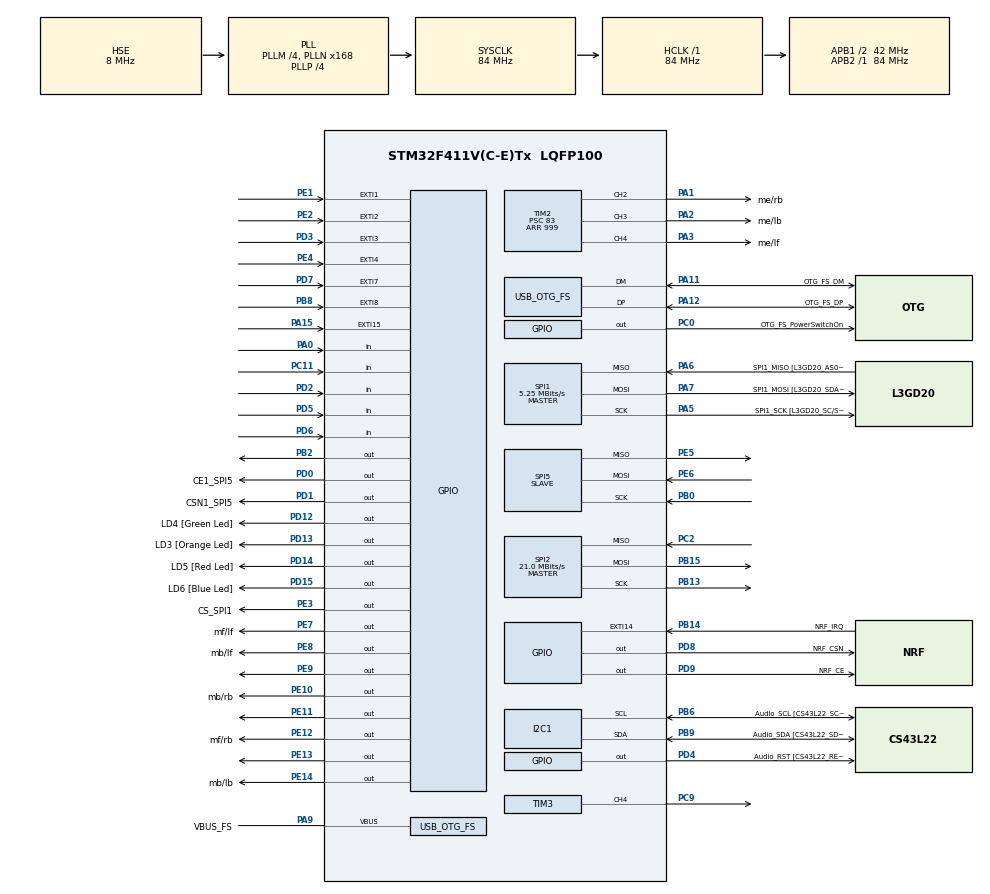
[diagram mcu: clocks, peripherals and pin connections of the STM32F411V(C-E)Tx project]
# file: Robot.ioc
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Dma.Request0=SPI5_RX
Dma.Request1=SPI5_TX
Dma.SPI5_RX.0.Direction=DMA_PERIPH_TO_MEMORY
Dma.SPI5_RX.0.FIFOMode=DMA_FIFOMODE_DISABLE
Dma.SPI5_RX.0.Instance=DMA2_Stream3
Dma.SPI5_RX.0.MemDataAlignment=DMA_MDATAALIGN_BYTE
Dma.SPI5_RX.0.MemInc=DMA_MINC_ENABLE
Dma.SPI5_RX.0.Mode=DMA_NORMAL
Dma.SPI5_RX.0.PeriphDataAlignment=DMA_PDATAALIGN_BYTE
Dma.SPI5_RX.0.PeriphInc=DMA_PINC_DISABLE
Dma.SPI5_RX.0.Priority=DMA_PRIORITY_LOW
Dma.SPI5_TX.1.Direction=DMA_MEMORY_TO_PERIPH
Dma.SPI5_TX.1.FIFOMode=DMA_FIFOMODE_DISABLE
Dma.SPI5_TX.1.Instance=DMA2_Stream4
Dma.SPI5_TX.1.MemDataAlignment=DMA_MDATAALIGN_BYTE
Dma.SPI5_TX.1.MemInc=DMA_MINC_ENABLE
Dma.SPI5_TX.1.Mode=DMA_NORMAL
Dma.SPI5_TX.1.PeriphDataAlignment=DMA_PDATAALIGN_BYTE
Dma.SPI5_TX.1.PeriphInc=DMA_PINC_DISABLE
Dma.SPI5_TX.1.Priority=DMA_PRIORITY_LOW
I2C1.I2C_Mode=I2C_Fast
Mcu.Family=STM32F4
Mcu.Name=STM32F411V(C-E)Tx
Mcu.Package=LQFP100
NVIC.DMA2_Stream3_IRQn=true\:0\:0\:false\:false\:true\:false\:true
NVIC.DMA2_Stream4_IRQn=true\:0\:0\:false\:false\:true\:false\:true
NVIC.EXTI15_10_IRQn=true\:0\:0\:false\:false\:true\:true\:true
NVIC.EXTI1_IRQn=true\:0\:0\:false\:false\:true\:true\:true
NVIC.EXTI2_IRQn=true\:0\:0\:false\:false\:true\:true\:true
NVIC.EXTI3_IRQn=true\:0\:0\:false\:false\:true\:true\:true
NVIC.EXTI4_IRQn=true\:0\:0\:false\:false\:true\:true\:true
NVIC.EXTI9_5_IRQn=true\:0\:0\:false\:false\:true\:true\:true
NVIC.OTG_FS_IRQn=true\:0\:0\:false\:false\:true\:false\:true
NVIC.PriorityGroup=NVIC_PRIORITYGROUP_4
NVIC.TIM1_TRG_COM_TIM11_IRQn=true\:15\:0\:false\:false\:true\:false\:true
NVIC.TIM2_IRQn=true\:0\:0\:false\:false\:true\:true\:true
NVIC.TimeBase=TIM1_TRG_COM_TIM11_IRQn
NVIC.TimeBaseIP=TIM11
PA0-WKUP.Signal=GPIO_Input
PA1.GPIO_Label=me/rb
PA1.Signal=S_TIM2_CH2
PA10.Signal=USB_OTG_FS_ID
PA11.GPIO_Label=OTG_FS_DM
PA11.Mode=Device_Only
PA11.Signal=USB_OTG_FS_DM
PA12.GPIO_Label=OTG_FS_DP
PA12.Mode=Device_Only
PA12.Signal=USB_OTG_FS_DP
PA13.GPIO_Label=SWDIO
PA13.Mode=Serial_Wire
PA13.Signal=SYS_JTMS-SWDIO
PA14.GPIO_Label=SWCLK
PA14.Mode=Serial_Wire
PA14.Signal=SYS_JTCK-SWCLK
PA15.Signal=GPXTI15
PA2.GPIO_Label=me/lb
PA2.Signal=S_TIM2_CH3
PA3.GPIO_Label=me/lf
PA3.Signal=S_TIM2_CH4
PA4.GPIO_Label=I2S3_WS [CS43L22_LRCK]
PA4.GPIO_Mode=GPIO_MODE_AF_PP
PA4.GPIO_PuPd=GPIO_NOPULL
PA4.GPIO_Speed=GPIO_SPEED_FREQ_LOW
PA4.Signal=I2S3_WS
PA5.GPIO_Label=SPI1_SCK [L3GD20_SC/SPC]
PA5.Mode=Full_Duplex_Master
PA5.Signal=SPI1_SCK
PA6.GPIO_Label=SPI1_MISO [L3GD20_AS0/SDO]
PA6.Mode=Full_Duplex_Master
PA6.Signal=SPI1_MISO
PA7.GPIO_Label=SPI1_MOSI [L3GD20_SDA/SDI/SDO]
PA7.Mode=Full_Duplex_Master
PA7.Signal=SPI1_MOSI
PA9.GPIO_Label=VBUS_FS
PA9.Mode=Activate_VBUS
PA9.Signal=USB_OTG_FS_VBUS
PB0.Mode=Full_Duplex_Slave
PB0.Signal=SPI5_SCK
PB10.GPIO_Label=CLK_IN [MP45DT02_CLK]
PB10.Signal=I2S2_CK
PB12.Signal=I2S2_WS
PB13.Mode=Full_Duplex_Master
PB13.Signal=SPI2_SCK
PB14.GPIO_Label=NRF_IRQ
PB14.GPIO_ModeDefaultEXTI=GPIO_MODE_IT_FALLING
PB14.Signal=GPXTI14
PB15.Mode=Full_Duplex_Master
PB15.Signal=SPI2_MOSI
PB2.Signal=GPIO_Output
PB3.GPIO_Label=SWO
PB3.Signal=SYS_JTDO-SWO
PB6.GPIO_Label=Audio_SCL [CS43L22_SCL]
PB6.GPIO_Mode=GPIO_MODE_AF_OD
PB6.GPIO_Pu=GPIO_PULLUP
PB6.GPIO_PuPd=GPIO_NOPULL
PB6.GPIO_Speed=GPIO_SPEED_FREQ_LOW
PB6.Mode=I2C
PB6.Signal=I2C1_SCL
PB8.Signal=GPXTI8
PB9.GPIO_Label=Audio_SDA [CS43L22_SDA]
PB9.GPIO_Mode=GPIO_MODE_AF_OD
PB9.GPIO_Pu=GPIO_PULLUP
PB9.GPIO_PuPd=GPIO_NOPULL
PB9.GPIO_Speed=GPIO_SPEED_FREQ_LOW
PB9.Mode=I2C
PB9.Signal=I2C1_SDA
PC0.GPIO_Label=OTG_FS_PowerSwitchOn
PC0.PinState=GPIO_PIN_SET
PC0.Signal=GPIO_Output
PC10.GPIO_Label=I2S3_SCK [CS43L22_SCLK]
PC10.GPIO_Mode=GPIO_MODE_AF_PP
PC10.GPIO_PuPd=GPIO_NOPULL
PC10.GPIO_Speed=GPIO_SPEED_FREQ_LOW
PC10.Signal=I2S3_CK
PC11.Signal=GPIO_Input
PC12.GPIO_Label=I2S3_SD [CS43L22_SDIN]
PC12.GPIO_Mode=GPIO_MODE_AF_PP
PC12.GPIO_PuPd=GPIO_NOPULL
PC12.GPIO_Speed=GPIO_SPEED_FREQ_LOW
PC12.Signal=I2S3_SD
PC14-OSC32_IN.GPIO_Label=PC14-OSC32_IN
PC14-OSC32_IN.Signal=RCC_OSC32_IN
PC15-OSC32_OUT.GPIO_Label=PC15-OSC32_OUT
PC15-OSC32_OUT.Signal=RCC_OSC32_OUT
PC2.Mode=Full_Duplex_Master
PC2.Signal=SPI2_MISO
PC3.GPIO_Label=PDM_OUT [MP45DT02_DOUT]
PC3.Signal=I2S2_SD
PC7.GPIO_Label=I2S3_MCK [CS43L22_MCLK]
PC7.GPIO_Mode=GPIO_MODE_AF_PP
PC7.GPIO_PuPd=GPIO_NOPULL
PC7.GPIO_Speed=GPIO_SPEED_FREQ_LOW
PC7.Signal=I2S3_MCK
PC9.Signal=S_TIM3_CH4
PD0.GPIO_Label=CE1_SPI5
PD0.Signal=GPIO_Output
PD1.GPIO_Label=CSN1_SPI5
PD1.Signal=GPIO_Output
PD12.GPIO_Label=LD4 [Green Led]
PD12.GPIO_PuPd=GPIO_NOPULL
PD12.GPIO_Speed=GPIO_SPEED_FREQ_LOW
PD12.Signal=GPIO_Output
PD13.GPIO_Label=LD3 [Orange Led]
PD13.GPIO_PuPd=GPIO_NOPULL
PD13.GPIO_Speed=GPIO_SPEED_FREQ_LOW
PD13.Signal=GPIO_Output
PD14.GPIO_Label=LD5 [Red Led]
PD14.GPIO_PuPd=GPIO_NOPULL
PD14.GPIO_Speed=GPIO_SPEED_FREQ_LOW
PD14.Signal=GPIO_Output
PD15.GPIO_Label=LD6 [Blue Led]
PD15.GPIO_PuPd=GPIO_NOPULL
PD15.GPIO_Speed=GPIO_SPEED_FREQ_LOW
PD15.Signal=GPIO_Output
PD2.Signal=GPIO_Input
PD3.Signal=GPXTI3
PD4.GPIO_Label=Audio_RST [CS43L22_RESET]
PD4.Signal=GPIO_Output
PD5.Signal=GPIO_Input
PD6.Signal=GPIO_Input
PD7.Signal=GPXTI7
PD8.GPIO_Label=NRF_CSN
PD8.Signal=GPIO_Output
PD9.GPIO_Label=NRF_CE
PD9.Signal=GPIO_Output
PE1.Signal=GPXTI1
PE10.GPIO_Label=mb/rb
PE10.Signal=GPIO_Output
PE11.Signal=GPIO_Output
PE12.GPIO_Label=mf/rb
PE12.Signal=GPIO_Output
PE13.Signal=GPIO_Output
PE14.GPIO_Label=mb/lb
PE14.Signal=GPIO_Output
PE2.Signal=GPXTI2
PE3.GPIO_Label=CS_SPI1
PE3.GPIO_Speed=GPIO_SPEED_FREQ_HIGH
PE3.Signal=GPIO_Output
PE4.Signal=GPXTI4
PE5.Mode=Full_Duplex_Slave
PE5.Signal=SPI5_MISO
PE6.Mode=Full_Duplex_Slave
PE6.Signal=SPI5_MOSI
PE7.GPIO_Label=mf/lf
PE7.Signal=GPIO_Output
PE8.GPIO_Label=mb/lf
PE8.Signal=GPIO_Output
PE9.Signal=GPIO_Output
PH0\ -\ OSC_IN.GPIO_Label=PH0-OSC_IN
PH0\ -\ OSC_IN.Mode=HSE-External-Oscillator
PH0\ -\ OSC_IN.Signal=RCC_OSC_IN
PH1\ -\ OSC_OUT.GPIO_Label=PH1-OSC_OUT
PH1\ -\ OSC_OUT.Mode=HSE-External-Oscillator
PH1\ -\ OSC_OUT.Signal=RCC_OSC_OUT
ProjectManager.HeapSize=0x200
ProjectManager.StackSize=0x400
ProjectManager.TargetToolchain=STM32CubeIDE
RCC.48MHZClocksFreq_Value=48000000
RCC.AHBFreq_Value=84000000
RCC.APB1CLKDivider=RCC_HCLK_DIV2
RCC.APB1Freq_Value=42000000
RCC.APB1TimFreq_Value=84000000
RCC.APB2Freq_Value=84000000
RCC.APB2TimFreq_Value=84000000
RCC.CortexFreq_Value=84000000
RCC.HCLKFreq_Value=84000000
RCC.HSE_VALUE=8000000
RCC.HSI_VALUE=16000000
RCC.LSE_VALUE=32768
RCC.PLLI2SM=5
RCC.PLLI2SN=200
RCC.PLLM=4
RCC.PLLN=168
RCC.PLLP=RCC_PLLP_DIV4
RCC.PLLQ=7
RCC.SYSCLKFreq_VALUE=84000000
RCC.SYSCLKSource=RCC_SYSCLKSOURCE_PLLCLK
RCC.VCOOutputFreq_Value=336000000
SH.S_TIM2_CH2.0=TIM2_CH2,PWM Generation2 CH2
SH.S_TIM2_CH3.0=TIM2_CH3,PWM Generation3 CH3
SH.S_TIM2_CH4.0=TIM2_CH4,PWM Generation4 CH4
SH.S_TIM3_CH4.0=TIM3_CH4,PWM Generation4 CH4
SPI1.BaudRatePrescaler=SPI_BAUDRATEPRESCALER_16
SPI1.CLKPhase=SPI_PHASE_2EDGE
SPI1.CalculateBaudRate=5.25 MBits/s
SPI1.Direction=SPI_DIRECTION_2LINES
SPI1.Mode=SPI_MODE_MASTER
SPI1.VirtualType=VM_MASTER
SPI2.CalculateBaudRate=21.0 MBits/s
SPI2.Direction=SPI_DIRECTION_2LINES
SPI2.Mode=SPI_MODE_MASTER
SPI2.VirtualType=VM_MASTER
SPI5.CLKPhase=SPI_PHASE_1EDGE
SPI5.Direction=SPI_DIRECTION_2LINES
SPI5.Mode=SPI_MODE_SLAVE
SPI5.VirtualType=VM_SLAVE
TIM2.Channel-PWM\ Generation2\ CH2=TIM_CHANNEL_2
TIM2.Channel-PWM\ Generation3\ CH3=TIM_CHANNEL_3
TIM2.Channel-PWM\ Generation4\ CH4=TIM_CHANNEL_4
TIM2.Period=999
TIM2.Prescaler=83
TIM3.Channel-PWM\ Generation4\ CH4=TIM_CHANNEL_4
TIM3.Period=999
TIM3.Prescaler=84
USB_DEVICE.CLASS_NAME_FS=CDC
USB_DEVICE.PRODUCT_STRING_CDC_FS=STM32roboRacer
USB_DEVICE.VirtualMode=Cdc
USB_DEVICE.VirtualModeFS=Cdc_FS
USB_OTG_FS.VirtualMode=Device_Only
VP_SYS_VS_tim11.Mode=TIM11
VP_TIM2_VS_ClockSourceINT.Mode=Internal
VP_TIM3_VS_ClockSourceINT.Mode=Internal
VP_USB_DEVICE_VS_USB_DEVICE_CDC_FS.Mode=CDC_FS
board=STM32F411E-DISCO

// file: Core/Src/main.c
/* USER CODE BEGIN Header */
/**
  ******************************************************************************
  * @file           : main.c
  * @brief          : Main program body
  ******************************************************************************
  * @attention
  *
  * <h2><center>&copy; Copyright (c) 2022 STMicroelectronics.
  * All rights reserved.</center></h2>
  *
  * This software component is licensed by ST under Ultimate Liberty license
  * SLA0044, the "License"; You may not use this file except in compliance with
  * the License. You may obtain a copy of the License at:
  *                             www.st.com/SLA0044
  *
  ******************************************************************************
  */
/* USER CODE END Header */
#include "main.h"
#include "usb_device.h"

/* USER CODE BEGIN Includes */
#include "robotPeriferija.h"
#include "nrf24.h"
#include "robotTasks.h"

/* USER CODE END Includes */

I2C_HandleTypeDef hi2c1;

SPI_HandleTypeDef hspi1;
SPI_HandleTypeDef hspi2;
SPI_HandleTypeDef hspi5;
DMA_HandleTypeDef hdma_spi5_rx;
DMA_HandleTypeDef hdma_spi5_tx;

TIM_HandleTypeDef htim2;
TIM_HandleTypeDef htim3;

/* USER CODE BEGIN PV */
nRF24_RXResult pipe;
volatile uint8_t nRF24_dataReady = 0;
volatile uint8_t nRF24_status = 0;
volatile int payload_length = 6;

volatile uint8_t GyroReady = 0;
volatile uint8_t AccReady = 0;
volatile uint8_t MagReady = 0;
volatile uint8_t sendData = 0;

TaskHandle_t TaskHandleCalculatingPoz = NULL;

QueueHandle_t PozDataQueueHandle;

volatile uint8_t SPIcommandRecived = 0;

volatile uint8_t SpiTxData[SPI_BUFFER_SIZE];
volatile uint8_t SpiRxData[SPI_BUFFER_SIZE];

volatile uint32_t timeSinceLastCommand = 0;
/* USER CODE END PV */

void SystemClock_Config(void);
static void MX_GPIO_Init(void);
static void MX_I2C1_Init(void);
static void MX_SPI1_Init(void);
static void MX_TIM2_Init(void);
static void MX_SPI2_Init(void);
static void MX_TIM3_Init(void);
static void MX_SPI5_Init(void);
static void MX_DMA_Init(void);
/* USER CODE BEGIN PFP */
void HAL_GPIO_EXTI_Callback(uint16_t GPIO_Pin);
void HAL_SPI_TxRxCpltCallback(SPI_HandleTypeDef *hspi);
/* USER CODE END PFP */

/* USER CODE BEGIN 0 */
void HAL_GPIO_EXTI_Callback(uint16_t GPIO_Pin)
{
	//kateri pin je poklical EXIT event
	if(GPIO_Pin == GPIO_PIN_14){
		nRF24_dataReady = 1; //spremenil se je status register pejt pogledat kaj se je zgodilo
	}
	else if(GPIO_Pin == GPIO_PIN_15){ //za spremenljivko pozicija motorja nimam shihronizaciskih mehanizmov ker ni tako pomembno da imam pravo vrednost ki se sicer ne speminja veliko
		if(HAL_GPIO_ReadPin(GPIOD,GPIO_PIN_2)){motorLF.poz--;}
		else{motorLF.poz++;}
	}
	else if(GPIO_Pin == GPIO_PIN_7){
		if(HAL_GPIO_ReadPin(GPIOD,GPIO_PIN_5)){motorRF.poz--;}
		else{motorRF.poz++;}
	}
	else if(GPIO_Pin == GPIO_PIN_3){
		if(HAL_GPIO_ReadPin(GPIOC,GPIO_PIN_11)){motorRB.poz--;}
		else{motorRB.poz++;}
	}
	else if(GPIO_Pin == GPIO_PIN_8){
		if(HAL_GPIO_ReadPin(GPIOD,GPIO_PIN_6)){motorLB.poz--;}
		else{motorLB.poz++;}
	}
	else if(GPIO_Pin == GPIO_PIN_1){
		spi1_beriRegistre(0x28, (uint8_t*)&Gyro, 6);
		GyroReady = 1; //zastavica da so na voljo novi podatki 200Hz
		xTaskNotifyFromISR(TaskHandleCalculatingPoz,0,eNoAction,pdFALSE);

	}
	else if(GPIO_Pin == GPIO_PIN_4){
		//data ready pospeskometer
		i2c1_beriRegistre(0x19, 0x28,(uint8_t*)&Acc, 6);
		AccReady = 1; //200Hz
		xTaskNotifyFromISR(TaskHandleCalculatingPoz,0,eNoAction,pdFALSE);
	}
	else if(GPIO_Pin == GPIO_PIN_2){
		//data ready megnetometer
		i2c1_beriRegistre(0x1e, 0x68,(uint8_t*)&Mag, 6);
		MagReady = 1; //100Hz
		xTaskNotifyFromISR(TaskHandleCalculatingPoz,0,eNoAction,pdFALSE);
	}

}

void HAL_SPI_TxRxCpltCallback(SPI_HandleTypeDef *hspi){
	SPIcommandRecived = 1;
	//HAL_GPIO_WritePin(GPIOD, GPIO_PIN_14, 1);
	HAL_GPIO_TogglePin(GPIOD, GPIO_PIN_13); //oranzna
	//HAL_SPI_Receive_DMA(&hspi5, (uint8_t*)&rasberyReq, rasberyReqSize);
	//..rasberyReq = *(struct recivedRasberyPiPayload*)SpiRxData;
	//if( SpiRxData[0] == 22){
	//	SPIcommandRecived = 1;
	//	//HAL_SPI_Transmit(&hspi5, (uint8_t*)&P, 28, 100);
	//}
}

void nRF24SetChip(){
	nRF24_Init();

	nRF24_DisableAA(0xFF);
	nRF24_SetRFChannel(115);
	nRF24_SetDataRate(nRF24_DR_1Mbps);
	nRF24_SetCRCScheme(nRF24_CRC_off);
	nRF24_SetAddrWidth(3);

	static const uint8_t nRF24_ADDR[] = { 0xE7, 0x1C, 0xE3 };
	nRF24_SetAddr(nRF24_PIPE1, nRF24_ADDR); // program address for RX pipe #1
	nRF24_SetRXPipe(nRF24_PIPE1, nRF24_AA_OFF, payload_length); // Auto-ACK: disabled, payload length: 5 bytes
	nRF24_SetOperationalMode(nRF24_MODE_RX);
	nRF24_SetPowerMode(nRF24_PWR_UP);
	nRF24_CE_H();
}

void inicilizirajCipe(){
	__HAL_I2C_ENABLE(&hi2c1); //omogocimo I2C1 za komunikacijo z vgrajenimi cipi
	__HAL_SPI_ENABLE(&hspi1); //komunikacija gyro
	__HAL_SPI_ENABLE(&hspi2); //komunikacija z nRF24
	__HAL_SPI_ENABLE(&hspi5); //rasbery pi
	HAL_Delay(50);
	nRF24SetChip();
	nastaviPospeskometer();
	nastaviMagnetometer();
	nastaviGiroskop();
	//prvic preberi podatke da se generirajo interupti
	spi1_beriRegistre(0x28, (uint8_t*)&Gyro, 6);
	i2c1_beriRegistre(0x19, 0x28,(uint8_t*)&Acc, 6);
	i2c1_beriRegistre(0x1e, 0x68,(uint8_t*)&Mag, 6);
}

void getDrift(){
	HAL_GPIO_WritePin(GPIOD, GPIO_PIN_14, 1);
	int32_t sumGyrox = 0;
	int32_t sumGyroy = 0;
	int32_t sumGyroz = 0;
	int32_t sumAccx = 0;
	int32_t sumAccy = 0;
	int32_t sumAccz = 0;
	for(int i=0; i < 400; i++){
		sumGyrox += Gyro.x;
		sumGyroy += Gyro.y;
		sumGyroz += Gyro.z;
		sumAccx += Acc.x;
		sumAccy += Acc.y;
		sumAccz += Acc.z;
		HAL_Delay(6);
	}
	E.Accx = sumAccx/400; //vektor gravitacije
	E.Accy = sumAccy/400;
	E.Accz = sumAccz/400;
	E.Gyrox = sumGyrox/400;
	E.Gyroy = sumGyroy/400;
	E.Gyroz = sumGyroz/400;
	HAL_GPIO_WritePin(GPIOD, GPIO_PIN_14, 0);
}

/* USER CODE END 0 */

int main(void)
{

  /* MCU Configuration--------------------------------------------------------*/

  /* Reset of all peripherals, Initializes the Flash interface and the Systick. */
  HAL_Init();

  /* Configure the system clock */
  SystemClock_Config();

  /* Initialize all configured peripherals */
  MX_GPIO_Init();
  MX_DMA_Init();
  MX_I2C1_Init();
  MX_SPI1_Init();
  MX_TIM2_Init();
  MX_SPI2_Init();
  MX_TIM3_Init();
  MX_SPI5_Init();
  MX_USB_DEVICE_Init();
  /* USER CODE BEGIN 2 */

  HAL_TIM_Base_Start(&htim2);
  HAL_TIM_Base_Start(&htim3);
  // zazenemo PWM
  HAL_TIM_PWM_Start(&htim3, TIM_CHANNEL_4);
  HAL_TIM_PWM_Start(&htim2, TIM_CHANNEL_2);
  HAL_TIM_PWM_Start(&htim2, TIM_CHANNEL_3);
  HAL_TIM_PWM_Start(&htim2, TIM_CHANNEL_4);

  HAL_Delay(100);

  inicilizirajCipe();
  nRF24_status = nRF24_Check();
  HAL_GPIO_WritePin(GPIOD, GPIO_PIN_12,nRF24_status); //ce dela prizgi ledico

	B1.flags = 0;
	B1.presedConf = 0;
	B1.relesedConf = 0;
	B1.port = GPIOA;
	B1.pin = GPIO_PIN_0;
	B1.debaunceCycles = 10;
	B1.presses = 0;

	//iniciliziramo vse spremenljivke
	robotPay.x1 = 0; //nastavimo na srednje vrednosti
	robotPay.x2 = 0;
	robotPay.y1 = 0;
	robotPay.y2 = 0;
	robotPay.speed = 100;

	nastaviMotor(RF,0);
	nastaviMotor(LF,0);
	nastaviMotor(LB,0);
	nastaviMotor(RB,0);

	motorLF.num = LF;
	motorLB.num = LB;
	motorRB.num = RB;
	motorRF.num = RF;

	E.Accx = 0;
	E.Accy = 0;
	E.Accz = 0;
	E.Gyrox = 0;
	E.Gyroy = 0;
	E.Gyroz = 0;
	E.HardIronMagx = 0;
	E.HardIronMagy = 0;
	E.HardIronMagz = 0;
	E.SoftIronMagx = 1;
	E.SoftIronMagy = 1;
	E.SoftIronMagz = 1;

	P.pozX = 0;
	P.pozY = 0;

	//getDrift();

  /* USER CODE END 2 */

  /* Infinite loop */
  /* USER CODE BEGIN WHILE */
	PozDataQueueHandle = xQueueCreate(20,sizeof(P)); //struktura P je velika 13 zlogov
	if (PozDataQueueHandle == 0){
		//napaka z ustvarjanjem vrste prizgemo redeco lediko
		HAL_GPIO_WritePin(GPIOD, GPIO_PIN_14, 1);
	}

	xTaskCreate(StartRecivingCommandsNRF24, "recivingCommands", 100, NULL, ( tskIDLE_PRIORITY + 4UL ), (TaskHandle_t *)NULL);
	xTaskCreate(StartCalculatingPoz, "calculatePoz", 100, NULL, ( tskIDLE_PRIORITY + 2UL ), &TaskHandleCalculatingPoz);
	xTaskCreate(StartMotorControl, "motorControl", 100, NULL, ( tskIDLE_PRIORITY + 2UL ), (TaskHandle_t *)NULL);
	xTaskCreate(StartCalculatingPath, "calculatePath", 100, NULL, ( tskIDLE_PRIORITY + 1UL ), (TaskHandle_t *)NULL);

	xTaskCreate(StartTransmitingData, "transmitData", 100, NULL, ( tskIDLE_PRIORITY + 1UL ), (TaskHandle_t *)NULL);

	vTaskStartScheduler();

  while (1)
  {
    /* USER CODE END WHILE */

  }
}

void SystemClock_Config(void)
{
  RCC_OscInitTypeDef RCC_OscInitStruct = {0};
  RCC_ClkInitTypeDef RCC_ClkInitStruct = {0};

  /** Configure the main internal regulator output voltage
  */
  __HAL_RCC_PWR_CLK_ENABLE();
  __HAL_PWR_VOLTAGESCALING_CONFIG(PWR_REGULATOR_VOLTAGE_SCALE1);
  /** Initializes the RCC Oscillators according to the specified parameters
  * in the RCC_OscInitTypeDef structure.
  */
  RCC_OscInitStruct.OscillatorType = RCC_OSCILLATORTYPE_HSE;
  RCC_OscInitStruct.HSEState = RCC_HSE_ON;
  RCC_OscInitStruct.PLL.PLLState = RCC_PLL_ON;
  RCC_OscInitStruct.PLL.PLLSource = RCC_PLLSOURCE_HSE;
  RCC_OscInitStruct.PLL.PLLM = 4;
  RCC_OscInitStruct.PLL.PLLN = 168;
  RCC_OscInitStruct.PLL.PLLP = RCC_PLLP_DIV4;
  RCC_OscInitStruct.PLL.PLLQ = 7;
  if (HAL_RCC_OscConfig(&RCC_OscInitStruct) != HAL_OK)
  {
    Error_Handler();
  }
  /** Initializes the CPU, AHB and APB buses clocks
  */
  RCC_ClkInitStruct.ClockType = RCC_CLOCKTYPE_HCLK|RCC_CLOCKTYPE_SYSCLK
                              |RCC_CLOCKTYPE_PCLK1|RCC_CLOCKTYPE_PCLK2;
  RCC_ClkInitStruct.SYSCLKSource = RCC_SYSCLKSOURCE_PLLCLK;
  RCC_ClkInitStruct.AHBCLKDivider = RCC_SYSCLK_DIV1;
  RCC_ClkInitStruct.APB1CLKDivider = RCC_HCLK_DIV2;
  RCC_ClkInitStruct.APB2CLKDivider = RCC_HCLK_DIV1;

  if (HAL_RCC_ClockConfig(&RCC_ClkInitStruct, FLASH_LATENCY_2) != HAL_OK)
  {
    Error_Handler();
  }
}

static void MX_I2C1_Init(void)
{

  hi2c1.Instance = I2C1;
  hi2c1.Init.ClockSpeed = 400000;
  hi2c1.Init.DutyCycle = I2C_DUTYCYCLE_2;
  hi2c1.Init.OwnAddress1 = 0;
  hi2c1.Init.AddressingMode = I2C_ADDRESSINGMODE_7BIT;
  hi2c1.Init.DualAddressMode = I2C_DUALADDRESS_DISABLE;
  hi2c1.Init.OwnAddress2 = 0;
  hi2c1.Init.GeneralCallMode = I2C_GENERALCALL_DISABLE;
  hi2c1.Init.NoStretchMode = I2C_NOSTRETCH_DISABLE;
  if (HAL_I2C_Init(&hi2c1) != HAL_OK)
  {
    Error_Handler();
  }

}

static void MX_SPI1_Init(void)
{

  /* SPI1 parameter configuration*/
  hspi1.Instance = SPI1;
  hspi1.Init.Mode = SPI_MODE_MASTER;
  hspi1.Init.Direction = SPI_DIRECTION_2LINES;
  hspi1.Init.DataSize = SPI_DATASIZE_8BIT;
  hspi1.Init.CLKPolarity = SPI_POLARITY_LOW;
  hspi1.Init.CLKPhase = SPI_PHASE_2EDGE;
  hspi1.Init.NSS = SPI_NSS_SOFT;
  hspi1.Init.BaudRatePrescaler = SPI_BAUDRATEPRESCALER_16;
  hspi1.Init.FirstBit = SPI_FIRSTBIT_MSB;
  hspi1.Init.TIMode = SPI_TIMODE_DISABLE;
  hspi1.Init.CRCCalculation = SPI_CRCCALCULATION_DISABLE;
  hspi1.Init.CRCPolynomial = 10;
  if (HAL_SPI_Init(&hspi1) != HAL_OK)
  {
    Error_Handler();
  }

}

static void MX_SPI2_Init(void)
{

  /* SPI2 parameter configuration*/
  hspi2.Instance = SPI2;
  hspi2.Init.Mode = SPI_MODE_MASTER;
  hspi2.Init.Direction = SPI_DIRECTION_2LINES;
  hspi2.Init.DataSize = SPI_DATASIZE_8BIT;
  hspi2.Init.CLKPolarity = SPI_POLARITY_LOW;
  hspi2.Init.CLKPhase = SPI_PHASE_1EDGE;
  hspi2.Init.NSS = SPI_NSS_SOFT;
  hspi2.Init.BaudRatePrescaler = SPI_BAUDRATEPRESCALER_2;
  hspi2.Init.FirstBit = SPI_FIRSTBIT_MSB;
  hspi2.Init.TIMode = SPI_TIMODE_DISABLE;
  hspi2.Init.CRCCalculation = SPI_CRCCALCULATION_DISABLE;
  hspi2.Init.CRCPolynomial = 10;
  if (HAL_SPI_Init(&hspi2) != HAL_OK)
  {
    Error_Handler();
  }

}

static void MX_SPI5_Init(void)
{

  /* SPI5 parameter configuration*/
  hspi5.Instance = SPI5;
  hspi5.Init.Mode = SPI_MODE_SLAVE;
  hspi5.Init.Direction = SPI_DIRECTION_2LINES;
  hspi5.Init.DataSize = SPI_DATASIZE_8BIT;
  hspi5.Init.CLKPolarity = SPI_POLARITY_LOW;
  hspi5.Init.CLKPhase = SPI_PHASE_1EDGE;
  hspi5.Init.NSS = SPI_NSS_SOFT;
  hspi5.Init.FirstBit = SPI_FIRSTBIT_MSB;
  hspi5.Init.TIMode = SPI_TIMODE_DISABLE;
  hspi5.Init.CRCCalculation = SPI_CRCCALCULATION_DISABLE;
  hspi5.Init.CRCPolynomial = 10;
  if (HAL_SPI_Init(&hspi5) != HAL_OK)
  {
    Error_Handler();
  }

}

static void MX_TIM2_Init(void)
{

  TIM_ClockConfigTypeDef sClockSourceConfig = {0};
  TIM_MasterConfigTypeDef sMasterConfig = {0};
  TIM_OC_InitTypeDef sConfigOC = {0};

  htim2.Instance = TIM2;
  htim2.Init.Prescaler = 83;
  htim2.Init.CounterMode = TIM_COUNTERMODE_UP;
  htim2.Init.Period = 999;
  htim2.Init.ClockDivision = TIM_CLOCKDIVISION_DIV1;
  htim2.Init.AutoReloadPreload = TIM_AUTORELOAD_PRELOAD_DISABLE;
  if (HAL_TIM_Base_Init(&htim2) != HAL_OK)
  {
    Error_Handler();
  }
  sClockSourceConfig.ClockSource = TIM_CLOCKSOURCE_INTERNAL;
  if (HAL_TIM_ConfigClockSource(&htim2, &sClockSourceConfig) != HAL_OK)
  {
    Error_Handler();
  }
  if (HAL_TIM_PWM_Init(&htim2) != HAL_OK)
  {
    Error_Handler();
  }
  sMasterConfig.MasterOutputTrigger = TIM_TRGO_RESET;
  sMasterConfig.MasterSlaveMode = TIM_MASTERSLAVEMODE_DISABLE;
  if (HAL_TIMEx_MasterConfigSynchronization(&htim2, &sMasterConfig) != HAL_OK)
  {
    Error_Handler();
  }
  sConfigOC.OCMode = TIM_OCMODE_PWM1;
  sConfigOC.Pulse = 0;
  sConfigOC.OCPolarity = TIM_OCPOLARITY_HIGH;
  sConfigOC.OCFastMode = TIM_OCFAST_DISABLE;
  if (HAL_TIM_PWM_ConfigChannel(&htim2, &sConfigOC, TIM_CHANNEL_2) != HAL_OK)
  {
    Error_Handler();
  }
  if (HAL_TIM_PWM_ConfigChannel(&htim2, &sConfigOC, TIM_CHANNEL_3) != HAL_OK)
  {
    Error_Handler();
  }
  if (HAL_TIM_PWM_ConfigChannel(&htim2, &sConfigOC, TIM_CHANNEL_4) != HAL_OK)
  {
    Error_Handler();
  }
  HAL_TIM_MspPostInit(&htim2);

}

static void MX_TIM3_Init(void)
{

  TIM_ClockConfigTypeDef sClockSourceConfig = {0};
  TIM_MasterConfigTypeDef sMasterConfig = {0};
  TIM_OC_InitTypeDef sConfigOC = {0};

  htim3.Instance = TIM3;
  htim3.Init.Prescaler = 84;
  htim3.Init.CounterMode = TIM_COUNTERMODE_UP;
  htim3.Init.Period = 999;
  htim3.Init.ClockDivision = TIM_CLOCKDIVISION_DIV1;
  htim3.Init.AutoReloadPreload = TIM_AUTORELOAD_PRELOAD_DISABLE;
  if (HAL_TIM_Base_Init(&htim3) != HAL_OK)
  {
    Error_Handler();
  }
  sClockSourceConfig.ClockSource = TIM_CLOCKSOURCE_INTERNAL;
  if (HAL_TIM_ConfigClockSource(&htim3, &sClockSourceConfig) != HAL_OK)
  {
    Error_Handler();
  }
  if (HAL_TIM_PWM_Init(&htim3) != HAL_OK)
  {
    Error_Handler();
  }
  sMasterConfig.MasterOutputTrigger = TIM_TRGO_RESET;
  sMasterConfig.MasterSlaveMode = TIM_MASTERSLAVEMODE_DISABLE;
  if (HAL_TIMEx_MasterConfigSynchronization(&htim3, &sMasterConfig) != HAL_OK)
  {
    Error_Handler();
  }
  sConfigOC.OCMode = TIM_OCMODE_PWM1;
  sConfigOC.Pulse = 0;
  sConfigOC.OCPolarity = TIM_OCPOLARITY_HIGH;
  sConfigOC.OCFastMode = TIM_OCFAST_DISABLE;
  if (HAL_TIM_PWM_ConfigChannel(&htim3, &sConfigOC, TIM_CHANNEL_4) != HAL_OK)
  {
    Error_Handler();
  }
  HAL_TIM_MspPostInit(&htim3);

}

static void MX_DMA_Init(void)
{

  /* DMA controller clock enable */
  __HAL_RCC_DMA2_CLK_ENABLE();

  /* DMA interrupt init */
  /* DMA2_Stream3_IRQn interrupt configuration */
  HAL_NVIC_SetPriority(DMA2_Stream3_IRQn, 0, 0);
  HAL_NVIC_EnableIRQ(DMA2_Stream3_IRQn);
  /* DMA2_Stream4_IRQn interrupt configuration */
  HAL_NVIC_SetPriority(DMA2_Stream4_IRQn, 0, 0);
  HAL_NVIC_EnableIRQ(DMA2_Stream4_IRQn);

}

static void MX_GPIO_Init(void)
{
  GPIO_InitTypeDef GPIO_InitStruct = {0};

  /* GPIO Ports Clock Enable */
  __HAL_RCC_GPIOE_CLK_ENABLE();
  __HAL_RCC_GPIOC_CLK_ENABLE();
  __HAL_RCC_GPIOH_CLK_ENABLE();
  __HAL_RCC_GPIOA_CLK_ENABLE();
  __HAL_RCC_GPIOB_CLK_ENABLE();
  __HAL_RCC_GPIOD_CLK_ENABLE();

  /*Configure GPIO pin Output Level */
  HAL_GPIO_WritePin(GPIOE, CS_SPI1_Pin|mf_lf_Pin|mb_lf_Pin|GPIO_PIN_9
                          |mb_rb_Pin|GPIO_PIN_11|mf_rb_Pin|GPIO_PIN_13
                          |mb_lb_Pin, GPIO_PIN_RESET);

  /*Configure GPIO pin Output Level */
  HAL_GPIO_WritePin(OTG_FS_PowerSwitchOn_GPIO_Port, OTG_FS_PowerSwitchOn_Pin, GPIO_PIN_SET);

  /*Configure GPIO pin Output Level */
  HAL_GPIO_WritePin(GPIOB, GPIO_PIN_2, GPIO_PIN_RESET);

  /*Configure GPIO pin Output Level */
  HAL_GPIO_WritePin(GPIOD, NRF_CSN_Pin|NRF_CE_Pin|LD4_Pin|LD3_Pin
                          |LD5_Pin|LD6_Pin|CE1_SPI5_Pin|CSN1_SPI5_Pin
                          |Audio_RST_Pin, GPIO_PIN_RESET);

  /*Configure GPIO pins : PE2 PE4 PE1 */
  GPIO_InitStruct.Pin = GPIO_PIN_2|GPIO_PIN_4|GPIO_PIN_1;
  GPIO_InitStruct.Mode = GPIO_MODE_IT_RISING;
  GPIO_InitStruct.Pull = GPIO_NOPULL;
  HAL_GPIO_Init(GPIOE, &GPIO_InitStruct);

  /*Configure GPIO pin : CS_SPI1_Pin */
  GPIO_InitStruct.Pin = CS_SPI1_Pin;
  GPIO_InitStruct.Mode = GPIO_MODE_OUTPUT_PP;
  GPIO_InitStruct.Pull = GPIO_NOPULL;
  GPIO_InitStruct.Speed = GPIO_SPEED_FREQ_HIGH;
  HAL_GPIO_Init(CS_SPI1_GPIO_Port, &GPIO_InitStruct);

  /*Configure GPIO pin : OTG_FS_PowerSwitchOn_Pin */
  GPIO_InitStruct.Pin = OTG_FS_PowerSwitchOn_Pin;
  GPIO_InitStruct.Mode = GPIO_MODE_OUTPUT_PP;
  GPIO_InitStruct.Pull = GPIO_NOPULL;
  GPIO_InitStruct.Speed = GPIO_SPEED_FREQ_LOW;
  HAL_GPIO_Init(OTG_FS_PowerSwitchOn_GPIO_Port, &GPIO_InitStruct);

  /*Configure GPIO pin : PDM_OUT_Pin */
  GPIO_InitStruct.Pin = PDM_OUT_Pin;
  GPIO_InitStruct.Mode = GPIO_MODE_AF_PP;
  GPIO_InitStruct.Pull = GPIO_NOPULL;
  GPIO_InitStruct.Speed = GPIO_SPEED_FREQ_LOW;
  GPIO_InitStruct.Alternate = GPIO_AF5_SPI2;
  HAL_GPIO_Init(PDM_OUT_GPIO_Port, &GPIO_InitStruct);

  /*Configure GPIO pin : PA0 */
  GPIO_InitStruct.Pin = GPIO_PIN_0;
  GPIO_InitStruct.Mode = GPIO_MODE_INPUT;
  GPIO_InitStruct.Pull = GPIO_NOPULL;
  HAL_GPIO_Init(GPIOA, &GPIO_InitStruct);

  /*Configure GPIO pin : I2S3_WS_Pin */
  GPIO_InitStruct.Pin = I2S3_WS_Pin;
  GPIO_InitStruct.Mode = GPIO_MODE_AF_PP;
  GPIO_InitStruct.Pull = GPIO_NOPULL;
  GPIO_InitStruct.Speed = GPIO_SPEED_FREQ_LOW;
  GPIO_InitStruct.Alternate = GPIO_AF6_SPI3;
  HAL_GPIO_Init(I2S3_WS_GPIO_Port, &GPIO_InitStruct);

  /*Configure GPIO pin : PB2 */
  GPIO_InitStruct.Pin = GPIO_PIN_2;
  GPIO_InitStruct.Mode = GPIO_MODE_OUTPUT_PP;
  GPIO_InitStruct.Pull = GPIO_NOPULL;
  GPIO_InitStruct.Speed = GPIO_SPEED_FREQ_LOW;
  HAL_GPIO_Init(GPIOB, &GPIO_InitStruct);

  /*Configure GPIO pins : mf_lf_Pin mb_lf_Pin PE9 mb_rb_Pin
                           PE11 mf_rb_Pin PE13 mb_lb_Pin */
  GPIO_InitStruct.Pin = mf_lf_Pin|mb_lf_Pin|GPIO_PIN_9|mb_rb_Pin
                          |GPIO_PIN_11|mf_rb_Pin|GPIO_PIN_13|mb_lb_Pin;
  GPIO_InitStruct.Mode = GPIO_MODE_OUTPUT_PP;
  GPIO_InitStruct.Pull = GPIO_NOPULL;
  GPIO_InitStruct.Speed = GPIO_SPEED_FREQ_LOW;
  HAL_GPIO_Init(GPIOE, &GPIO_InitStruct);

  /*Configure GPIO pins : CLK_IN_Pin PB12 */
  GPIO_InitStruct.Pin = CLK_IN_Pin|GPIO_PIN_12;
  GPIO_InitStruct.Mode = GPIO_MODE_AF_PP;
  GPIO_InitStruct.Pull = GPIO_NOPULL;
  GPIO_InitStruct.Speed = GPIO_SPEED_FREQ_LOW;
  GPIO_InitStruct.Alternate = GPIO_AF5_SPI2;
  HAL_GPIO_Init(GPIOB, &GPIO_InitStruct);

  /*Configure GPIO pin : NRF_IRQ_Pin */
  GPIO_InitStruct.Pin = NRF_IRQ_Pin;
  GPIO_InitStruct.Mode = GPIO_MODE_IT_FALLING;
  GPIO_InitStruct.Pull = GPIO_NOPULL;
  HAL_GPIO_Init(NRF_IRQ_GPIO_Port, &GPIO_InitStruct);

  /*Configure GPIO pins : NRF_CSN_Pin NRF_CE_Pin LD4_Pin LD3_Pin
                           LD5_Pin LD6_Pin CE1_SPI5_Pin CSN1_SPI5_Pin
                           Audio_RST_Pin */
  GPIO_InitStruct.Pin = NRF_CSN_Pin|NRF_CE_Pin|LD4_Pin|LD3_Pin
                          |LD5_Pin|LD6_Pin|CE1_SPI5_Pin|CSN1_SPI5_Pin
                          |Audio_RST_Pin;
  GPIO_InitStruct.Mode = GPIO_MODE_OUTPUT_PP;
  GPIO_InitStruct.Pull = GPIO_NOPULL;
  GPIO_InitStruct.Speed = GPIO_SPEED_FREQ_LOW;
  HAL_GPIO_Init(GPIOD, &GPIO_InitStruct);

  /*Configure GPIO pins : I2S3_MCK_Pin I2S3_SCK_Pin I2S3_SD_Pin */
  GPIO_InitStruct.Pin = I2S3_MCK_Pin|I2S3_SCK_Pin|I2S3_SD_Pin;
  GPIO_InitStruct.Mode = GPIO_MODE_AF_PP;
  GPIO_InitStruct.Pull = GPIO_NOPULL;
  GPIO_InitStruct.Speed = GPIO_SPEED_FREQ_LOW;
  GPIO_InitStruct.Alternate = GPIO_AF6_SPI3;
  HAL_GPIO_Init(GPIOC, &GPIO_InitStruct);

  /*Configure GPIO pin : PA15 */
  GPIO_InitStruct.Pin = GPIO_PIN_15;
  GPIO_InitStruct.Mode = GPIO_MODE_IT_RISING;
  GPIO_InitStruct.Pull = GPIO_NOPULL;
  HAL_GPIO_Init(GPIOA, &GPIO_InitStruct);

  /*Configure GPIO pin : PC11 */
  GPIO_InitStruct.Pin = GPIO_PIN_11;
  GPIO_InitStruct.Mode = GPIO_MODE_INPUT;
  GPIO_InitStruct.Pull = GPIO_NOPULL;
  HAL_GPIO_Init(GPIOC, &GPIO_InitStruct);

  /*Configure GPIO pins : PD2 PD5 PD6 */
  GPIO_InitStruct.Pin = GPIO_PIN_2|GPIO_PIN_5|GPIO_PIN_6;
  GPIO_InitStruct.Mode = GPIO_MODE_INPUT;
  GPIO_InitStruct.Pull = GPIO_NOPULL;
  HAL_GPIO_Init(GPIOD, &GPIO_InitStruct);

  /*Configure GPIO pins : PD3 PD7 */
  GPIO_InitStruct.Pin = GPIO_PIN_3|GPIO_PIN_7;
  GPIO_InitStruct.Mode = GPIO_MODE_IT_RISING;
  GPIO_InitStruct.Pull = GPIO_NOPULL;
  HAL_GPIO_Init(GPIOD, &GPIO_InitStruct);

  /*Configure GPIO pin : PB8 */
  GPIO_InitStruct.Pin = GPIO_PIN_8;
  GPIO_InitStruct.Mode = GPIO_MODE_IT_RISING;
  GPIO_InitStruct.Pull = GPIO_NOPULL;
  HAL_GPIO_Init(GPIOB, &GPIO_InitStruct);

  /* EXTI interrupt init*/
  HAL_NVIC_SetPriority(EXTI1_IRQn, 0, 0);
  HAL_NVIC_EnableIRQ(EXTI1_IRQn);

  HAL_NVIC_SetPriority(EXTI2_IRQn, 0, 0);
  HAL_NVIC_EnableIRQ(EXTI2_IRQn);

  HAL_NVIC_SetPriority(EXTI3_IRQn, 0, 0);
  HAL_NVIC_EnableIRQ(EXTI3_IRQn);

  HAL_NVIC_SetPriority(EXTI4_IRQn, 0, 0);
  HAL_NVIC_EnableIRQ(EXTI4_IRQn);

  HAL_NVIC_SetPriority(EXTI9_5_IRQn, 0, 0);
  HAL_NVIC_EnableIRQ(EXTI9_5_IRQn);

  HAL_NVIC_SetPriority(EXTI15_10_IRQn, 0, 0);
  HAL_NVIC_EnableIRQ(EXTI15_10_IRQn);

}

void HAL_TIM_PeriodElapsedCallback(TIM_HandleTypeDef *htim)
{
  if (htim->Instance == TIM11) {
    HAL_IncTick();
  }
}

void Error_Handler(void)
{
  __disable_irq();
  while (1)
  {
  }
}

/************************ (C) COPYRIGHT STMicroelectronics *****END OF FILE****/
